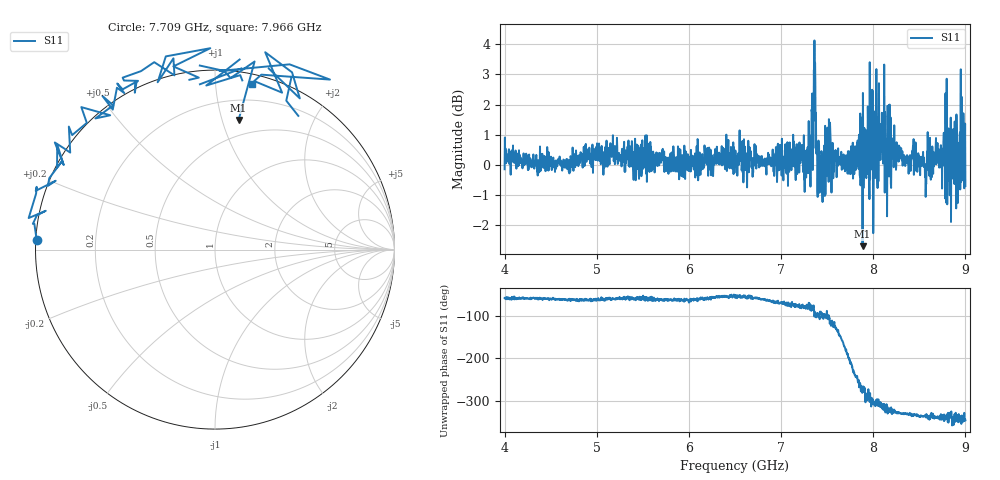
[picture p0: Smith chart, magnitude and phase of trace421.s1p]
! Created with skrf 1.8.0 (http://scikit-rf.org).
# Hz S RI R 50.0
!freq ReS11 ImS11
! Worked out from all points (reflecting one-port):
!   1601 points, 4 GHz to 9 GHz, reference 50 ohm
!   lowest |S11| = -2.7 dB at 7.884 GHz (marker M1), VSWR 6.50, Z = 18.1 + j56.6 ohm
!   phase of S11 starts at -57 deg and turns -289 deg over the sweep
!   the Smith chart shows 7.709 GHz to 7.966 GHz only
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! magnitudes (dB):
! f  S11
! 4 GHz  -0.1
! 4.625 GHz  -0.2
! 5.25 GHz  0.1
! 5.875 GHz  -0.1
! 6.5 GHz  -0.1
! 7.125 GHz  0.4
! 7.269 GHz  0.4
! 7.303 GHz  0.2
! 7.356 GHz  3.2
! 7.388 GHz  0.6
! 7.4 GHz  0.0
! 7.438 GHz  0.5
! 7.512 GHz  0.8
! 7.566 GHz  -0.4
! 7.75 GHz  -0.1
! 7.884 GHz  -2.7
! 7.962 GHz  3.4
! 8.022 GHz  -0.4
! 8.05 GHz  1.6
! 8.106 GHz  0.0
! 8.128 GHz  1.8
! 8.375 GHz  0.1
! 8.588 GHz  -0.2
! 8.775 GHz  0.5
! 8.844 GHz  -1.9
! 8.919 GHz  0.2
! 8.959 GHz  2.3
! 9 GHz  -0.7
